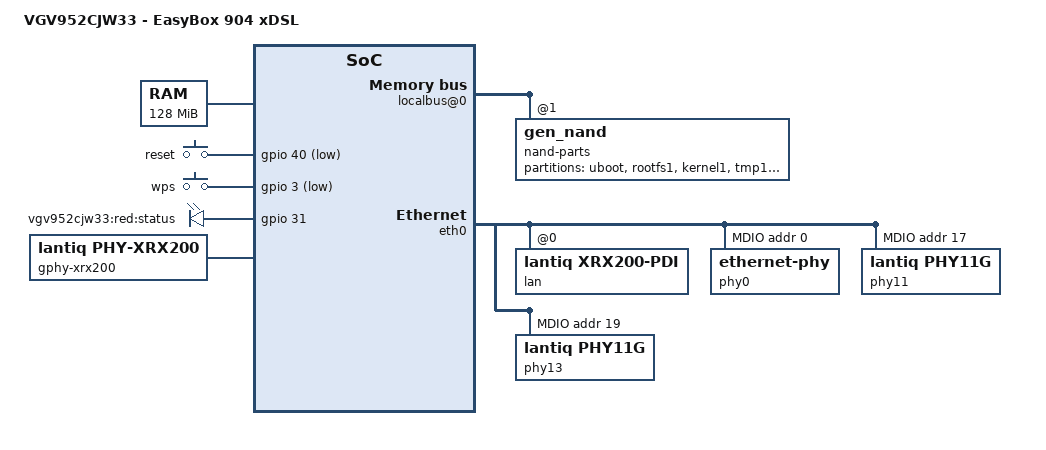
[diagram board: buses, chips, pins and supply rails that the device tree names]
/dts-v1/;

#include "vr9.dtsi"

#include <dt-bindings/input/input.h>

/ {
	model = "VGV952CJW33 - EasyBox 904 xDSL";

	aliases {
		led-boot = &status;
		led-failsafe = &status;
	};

	memory@0 {
		reg = <0x0 0x8000000>;
	};

	fpi@10000000 {
		localbus@0 {
			nand-parts@0 {
				compatible = "gen_nand", "lantiq,nand-xway";
				lantiq,cs = <1>;
				bank-width = <2>;
				reg = <0x1 0x0 0x2000000>;
				#address-cells = <1>;
				#size-cells = <1>;

				/*
					Arcadyan decided to change the bad block table patterns of
					the u-boot to:

					bbt_pattern[] = {'A', 'R', 'C', 'A' };
					mirror_pattern[] = {'a', 'c', 'r', 'a' };

					instead of the ones used by an unmodified lantiq u-boot,
					upstream u-boot and the kernel:

					bbt_pattern[] = {'B', 'b', 't', '0' }
					mirror_pattern[] = {'1', 't', 'b', 'B' }

					which makes the on flash bad block table incompatible with
					the linux kernel.

					Someone needs to add support for the Arcadyan pattern to
					the linux kernel. Enabling nand-on-flash-bbt support
					without	having support for the Arcadyan pattern will lead
					to a alternating initialisation of the bad block table by
					the bootloader or the linux kernel.
				*/
				/*
				nand-on-flash-bbt;
				*/
				nand-ecc-strength = <3>;
				nand-ecc-step-size = <256>;

				partitions {
					compatible = "fixed-partitions";
					#address-cells = <1>;
					#size-cells = <1>;

					partition@0 {
						label = "uboot";
						reg = <0x0 0x40000>;
					};

					partition@40000 {
						label = "rootfs1";
						reg = <0x40000 0x3C00000>;
					};

					partition@3C40000 {
						label = "kernel1";
						reg = <0x3C40000 0x500000>;
					};

					partition@4140000 {
						label = "tmp1";
						reg = <0x4140000 0x100000>;
					};

					partition@4240000 {
						label = "tmp2";
						reg = <0x4240000 0x200000>;
					};
	
					partition@4440000 {
						label = "sysconfig";
						reg = <0x4440000 0x100000>;
					};

					partition@4540000 {
						label = "ubootconfig";
						reg = <0x4540000 0x100000>;
					};

					/* 0x464002d == rt3883 EEPROM */
					/* 0x4640200 == rt5392 EEPROM */
					caldata: partition@4640000 {
						label = "fwdiag";
						reg = <0x4640000 0xC0000>;
					};

					partition@4700000 {
						label = "lcdimage";
						reg = <0x4700000 0x300000>;
					};

					partition@4A00000 {
						label = "mfgconfig";
						reg = <0x4A00000 0x100000>;
					};

					partition@4B00000 {
						label = "sipdata";
						reg = <0x4B00000 0x100000>;
					};

					partition@4C00000 {
						label = "voice";
						reg = <0x4C00000 0x4000000>;
					};

					partition@8C00000 {
						label = "misc";
						reg = <0x8C00000 0x13200000>;
					};

					partition@1BE00000 {
						label = "rootfs2";
						reg = <0x1BE00000 0x3c00000>;
					};
	
					partition@1FA00000 {
						label = "kernel2";
						reg = <0x1FA00000 0x500000>;
					};

					full {
						label = "full";
						reg = <0x0 0x1FF00000>;
					};

					/*
					 * last 512 KiB are unused
					 */

					/*
					 * last 512 KiB are for the bad block table, not writable
					 */
				};
			};
		};

		gpio: pinmux@E100B10 {
			pinctrl-names = "default";
			pinctrl-0 = <&state_default>;

			state_default: pinmux {
				mdio {
					lantiq,groups = "mdio";
					lantiq,function = "mdio";
				};
				nand_out {
					lantiq,groups = "nand cle", "nand ale";
					lantiq,function = "ebu";
					lantiq,output = <1>;
					lantiq,open-drain = <0>;
					lantiq,pull = <0>;
				};
				nand_cs1 {
					lantiq,groups = "nand cs1";
					lantiq,function = "ebu";
					lantiq,open-drain = <0>;
					lantiq,pull = <0>;
				};
			};
		};

		ifxhcd@E101000 {
			status = "okay";
			gpios = <&gpio 33 GPIO_ACTIVE_HIGH>;
		};
	};

	gpio-keys-polled {
		compatible = "gpio-keys-polled";
		#address-cells = <1>;
		#size-cells = <0>;
		poll-interval = <100>;

		reset {
			label = "reset";
			gpios = <&gpio 40 GPIO_ACTIVE_LOW>;
			linux,code = <KEY_RESTART>;
		};

		wps {
			label = "wps";
			gpios = <&gpio 3 GPIO_ACTIVE_LOW>;
			linux,code = <KEY_WPS_BUTTON>;
		};
	};

	gpio-leds {
		compatible = "gpio-leds";

		status: status {
			label = "vgv952cjw33:red:status";
			gpios = <&gpio 31 GPIO_ACTIVE_HIGH>;
		};
	};

	gphy-xrx200 {
		compatible = "lantiq,phy-xrx200";
		firmware1 = "lantiq/vr9_phy11g_a1x.bin";	/*VR9 1.1*/
		firmware2 = "lantiq/vr9_phy11g_a2x.bin";	/*VR9 1.2*/
		phys = [ 00 01 ];
	};

	/*
	 * Values from OEM firmware:
	 *
	 * mode 0 == RTL8367_EXTIF_MODE_DISABLED
	 * mode 1 == RTL8367_EXTIF_MODE_RGMII
	 * mode 2 == RTL8367_EXTIF_MODE_MII_MAC
	 * mode 3 == RTL8367_EXTIF_MODE_MII_PHY
	 *
	 * root@easy:~# rtl8367_switch_utility PortForceLinkExtCfgGet 6
	 *
	 * Got extension port id = 6(1) force link configureation successfully!!!
	 *  - Mode       = 1
	 *
	 *  - Force mode = 1
	 *  - Speed      = 2(1000M)
	 *  - Duplex     = 1
	 *  - Link       = 1
	 *  - Nway       = 0
	 *  - Txpause    = 0
	 *  - Rxpause    = 0
	 *
	 * root@easy:~# rtl8367_switch_utility PortRGMIIClkExtGet 6
	 *
	 * Got extension port id = 6(1) rgmii tx delay = 1, rx delay = 0 successfully!!!
	 */
	rtl8367rb {
		compatible = "realtek,rtl8367b";
		realtek,extif1 = <
			1 /* txdelay */
			0 /* rxdelay */
			1 /* mode: RTL8367_EXTIF_MODE_RGMII */
			0 /* force_mode */
			0 /* txpause */
			0 /* rxpause */
			1 /* link */
			1 /* duplex: FullDuplex */
			2 /* speed: Gigabit */
		>;
		mdio = <&mdio0>;
	};
};

&pcie0 {
	status = "disabled";
};

/*
 * Values from OEM firmware:
 *
 * Port0 + Port5:
 * - Force Port Duplex Mode.   = 1
 * - Port Duplex Status.       = 0
 * - Force Link Speed.         = 1
 * - Port link speed status    = 1000
 * - Force Link                = 1
 * - Force link status         = 0
 * - Selected interface mode   = 3
 * - Select if MAC or PHY mode = 0
 * - Interface clock Mode      = 0
 *
 * interface mode 1 == MII_CFG_MODE_MIIM/MII_CFG_MODE_MIIP
 * interface mode 2 == MII_CFG_MODE_RMIIM/MII_CFG_MODE_RMIIP
 * interface mode 3 == MII_CFG_MODE_RGMII
 */

&eth0 {
	lan: interface@0 {
		compatible = "lantiq,xrx200-pdi";
		#address-cells = <1>;
		#size-cells = <0>;
		reg = <0>;
		lantiq,switch;

		/* realtek switch */
		ethernet@0 {
			compatible = "lantiq,xrx200-pdi-port";
			reg = <0>;
			phy-mode = "rgmii";
			phy-handle = <&phy0>;
		};

		/* SoC phy - not physically connected? */
		ethernet@2 {
			compatible = "lantiq,xrx200-pdi-port";
			reg = <2>;
			phy-mode = "gmii";
			phy-handle = <&phy11>;
		};

		/* SoC phy - wan */
		ethernet@4 {
			compatible = "lantiq,xrx200-pdi-port";
			reg = <4>;
			phy-mode = "gmii";
			phy-handle = <&phy13>;
		};

		/* rt3883 soc */
		/*
		ethernet@5 {
			compatible = "lantiq,xrx200-pdi-port";
			reg = <5>;
			phy-mode = "rgmii";
			phy-handle = <&phy5>;
		};
		*/
	};

	mdio0: mdio@0 {
		#address-cells = <1>;
		#size-cells = <0>;
		compatible = "lantiq,xrx200-mdio";

		phy0: ethernet-phy@0 {
			reg = <0x0>;
		};

		/*
		phy5: ethernet-phy@5 {
			reg = <0x5>;
		};
		*/

		phy11: ethernet-phy@11 {
			reg = <0x11>;
			compatible = "lantiq,phy11g", "ethernet-phy-ieee802.3-c22";
		};

		phy13: ethernet-phy@13 {
			reg = <0x13>;
			compatible = "lantiq,phy11g", "ethernet-phy-ieee802.3-c22";
		};
	};
};
